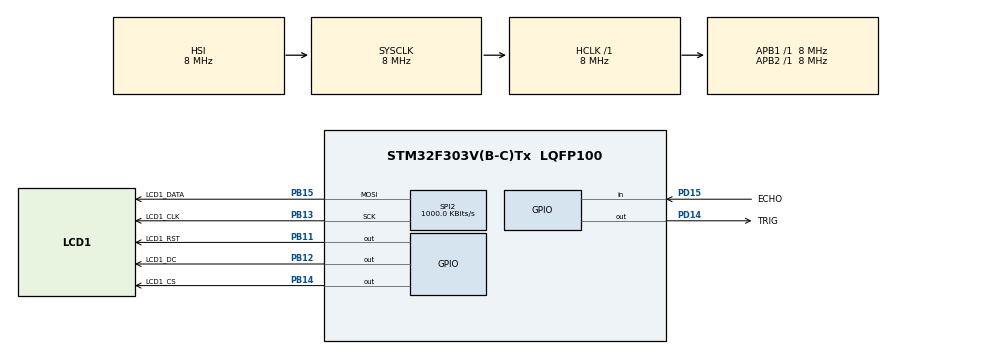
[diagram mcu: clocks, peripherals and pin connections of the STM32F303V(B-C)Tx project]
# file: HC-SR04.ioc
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Mcu.Family=STM32F3
Mcu.Name=STM32F303V(B-C)Tx
Mcu.Package=LQFP100
NVIC.PriorityGroup=NVIC_PRIORITYGROUP_4
PB11.GPIO_Label=LCD1_RST
PB11.Signal=GPIO_Output
PB12.GPIO_Label=LCD1_DC
PB12.Signal=GPIO_Output
PB13.GPIO_Label=LCD1_CLK
PB13.Mode=TX_Only_Simplex_Unidirect_Master
PB13.Signal=SPI2_SCK
PB14.GPIO_Label=LCD1_CS
PB14.Signal=GPIO_Output
PB15.GPIO_Label=LCD1_DATA
PB15.Mode=TX_Only_Simplex_Unidirect_Master
PB15.Signal=SPI2_MOSI
PD14.GPIO_Label=TRIG
PD14.Signal=GPIO_Output
PD15.GPIO_Label=ECHO
PD15.Signal=GPIO_Input
ProjectManager.HeapSize=0x200
ProjectManager.StackSize=0x400
ProjectManager.TargetToolchain=SW4STM32
RCC.AHBFreq_Value=8000000
RCC.APB1Freq_Value=8000000
RCC.APB2Freq_Value=8000000
RCC.CortexFreq_Value=8000000
RCC.HSE_VALUE=8000000
RCC.HSI_VALUE=8000000
RCC.LSE_VALUE=32768
RCC.SYSCLKFreq_VALUE=8000000
SPI2.BaudRatePrescaler=SPI_BAUDRATEPRESCALER_8
SPI2.CalculateBaudRate=1000.0 KBits/s
SPI2.DataSize=SPI_DATASIZE_8BIT
SPI2.Direction=SPI_DIRECTION_2LINES
SPI2.Mode=SPI_MODE_MASTER
SPI2.VirtualType=VM_MASTER
board=custom

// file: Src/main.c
/**
  ******************************************************************************
  * @file           : main.c
  * @brief          : Main program body
  ******************************************************************************
  ** This notice applies to any and all portions of this file
  * that are not between comment pairs USER CODE BEGIN and
  * USER CODE END. Other portions of this file, whether
  * inserted by the user or by software development tools
  * are owned by their respective copyright owners.
  *
  * COPYRIGHT(c) 2019 STMicroelectronics
  *
  * Redistribution and use in source and binary forms, with or without modification,
  * are permitted provided that the following conditions are met:
  *   1. Redistributions of source code must retain the above copyright notice,
  *      this list of conditions and the following disclaimer.
  *   2. Redistributions in binary form must reproduce the above copyright notice,
  *      this list of conditions and the following disclaimer in the documentation
  *      and/or other materials provided with the distribution.
  *   3. Neither the name of STMicroelectronics nor the names of its contributors
  *      may be used to endorse or promote products derived from this software
  *      without specific prior written permission.
  *
  * THIS SOFTWARE IS PROVIDED BY THE COPYRIGHT HOLDERS AND CONTRIBUTORS "AS IS"
  * AND ANY EXPRESS OR IMPLIED WARRANTIES, INCLUDING, BUT NOT LIMITED TO, THE
  * IMPLIED WARRANTIES OF MERCHANTABILITY AND FITNESS FOR A PARTICULAR PURPOSE ARE
  * DISCLAIMED. IN NO EVENT SHALL THE COPYRIGHT HOLDER OR CONTRIBUTORS BE LIABLE
  * FOR ANY DIRECT, INDIRECT, INCIDENTAL, SPECIAL, EXEMPLARY, OR CONSEQUENTIAL
  * DAMAGES (INCLUDING, BUT NOT LIMITED TO, PROCUREMENT OF SUBSTITUTE GOODS OR
  * SERVICES; LOSS OF USE, DATA, OR PROFITS; OR BUSINESS INTERRUPTION) HOWEVER
  * CAUSED AND ON ANY THEORY OF LIABILITY, WHETHER IN CONTRACT, STRICT LIABILITY,
  * OR TORT (INCLUDING NEGLIGENCE OR OTHERWISE) ARISING IN ANY WAY OUT OF THE USE
  * OF THIS SOFTWARE, EVEN IF ADVISED OF THE POSSIBILITY OF SUCH DAMAGE.
  *
  ******************************************************************************
  */
#include "main.h"
#include "stm32f3xx_hal.h"
#include "spi.h"
#include "gpio.h"

/* USER CODE BEGIN Includes */
#include "lcd5110.h"
/* USER CODE END Includes */

/* USER CODE BEGIN PV */
/* Private variables ---------------------------------------------------------*/

/* USER CODE END PV */

void SystemClock_Config(void);

/* USER CODE BEGIN PFP */
/* Private function prototypes -----------------------------------------------*/

/* USER CODE END PFP */

/* USER CODE BEGIN 0 */

static uint32_t get_us()
{
    return 1000*HAL_GetTick();
}

#define LOOP_FREQ (SystemCoreClock/4000000)

static void udelay_asm (uint32_t useconds) {
    useconds *= LOOP_FREQ;

    asm volatile("   mov r0, %[useconds]    \n\t"
                 "1: subs r0, #1            \n\t"
                 "   bhi 1b                 \n\t"
    :
    : [useconds] "r" (useconds)
    : "r0");
}

static void udelay(uint32_t useconds)
{
    udelay_asm(useconds);
}

LCD5110_display lcd1;

/* USER CODE END 0 */

int main(void)
{

  /* MCU Configuration----------------------------------------------------------*/

  /* Reset of all peripherals, Initializes the Flash interface and the Systick. */
  HAL_Init();

  /* Configure the system clock */
  SystemClock_Config();

  /* Initialize all configured peripherals */
  MX_GPIO_Init();
  MX_SPI2_Init();
  /* USER CODE BEGIN 2 */

  lcd1.hw_conf.spi_handle = &hspi2;
  lcd1.hw_conf.spi_cs_pin =  LCD1_CS_Pin;
  lcd1.hw_conf.spi_cs_port = LCD1_CS_GPIO_Port;
  lcd1.hw_conf.rst_pin =  LCD1_RST_Pin;
  lcd1.hw_conf.rst_port = LCD1_RST_GPIO_Port;
  lcd1.hw_conf.dc_pin =  LCD1_DC_Pin;
  lcd1.hw_conf.dc_port = LCD1_DC_GPIO_Port;
  lcd1.def_scr = lcd5110_def_scr;
  LCD5110_init(&lcd1.hw_conf, LCD5110_NORMAL_MODE, 0x40, 2, 3);

  /* USER CODE END 2 */

  /* Infinite loop */
  /* USER CODE BEGIN WHILE */
    HAL_GPIO_WritePin(TRIG_GPIO_Port, TRIG_Pin, GPIO_PIN_RESET);
    while (1)
  {

      int t_state = HAL_GPIO_ReadPin(TRIG_GPIO_Port, TRIG_Pin);
      while(  t_state == GPIO_PIN_SET )
      {
          LCD5110_set_cursor(0, 0, &lcd1);
          LCD5110_clrscr(&lcd1);
          LCD5110_print("Wrong state before triggering, Trig is high\n", BLACK, &lcd1);
          HAL_Delay(300);
      }
      HAL_GPIO_WritePin(TRIG_GPIO_Port, TRIG_Pin, GPIO_PIN_SET);
      if ( HAL_GPIO_ReadPin(TRIG_GPIO_Port, TRIG_Pin) != GPIO_PIN_SET )
      {
          LCD5110_set_cursor(0, 0, &lcd1);
          LCD5110_clrscr(&lcd1);
          LCD5110_print("Line Trig do not went high while triggering.\n", BLACK, &lcd1);
          HAL_GPIO_WritePin(TRIG_GPIO_Port, TRIG_Pin, GPIO_PIN_RESET);
          HAL_Delay(300);
          continue;
      }
      udelay(16);
      HAL_GPIO_WritePin(TRIG_GPIO_Port, TRIG_Pin, GPIO_PIN_RESET);
      if ( HAL_GPIO_ReadPin(TRIG_GPIO_Port, TRIG_Pin) != GPIO_PIN_RESET )
      {
          LCD5110_set_cursor(0, 0, &lcd1);
          LCD5110_clrscr(&lcd1);
          LCD5110_print("Line Trig do not went low after triggering.\n", BLACK, &lcd1);
          HAL_GPIO_WritePin(TRIG_GPIO_Port, TRIG_Pin, GPIO_PIN_RESET);
          HAL_Delay(300);
          continue;
      }
      if ( HAL_GPIO_ReadPin(ECHO_GPIO_Port, ECHO_Pin) == GPIO_PIN_SET )
      {
          LCD5110_set_cursor(0, 0, &lcd1);
          LCD5110_clrscr(&lcd1);
          LCD5110_print("Line ECHO is high too early.\n", BLACK, &lcd1);
          HAL_Delay(300);
          continue;
      }

      uint32_t watchdog_begin = get_us();
      int didnt_had_1_at_echo = 0;
      while(HAL_GPIO_ReadPin(ECHO_GPIO_Port, ECHO_Pin) == GPIO_PIN_RESET )
      {
          if( get_us() - watchdog_begin > 500000 )
          {
              didnt_had_1_at_echo = 1;
              break;
          }
      }
      if(didnt_had_1_at_echo)
      {
          LCD5110_set_cursor(0, 0, &lcd1);
          LCD5110_clrscr(&lcd1);
          LCD5110_print("Line ECHO didn't go high for a long time.\n", BLACK, &lcd1);
          HAL_Delay(300);
          continue;
      }

      uint32_t before = get_us();
      int didnt_had_0_at_echo = 0;
      while(HAL_GPIO_ReadPin(ECHO_GPIO_Port, ECHO_Pin) == GPIO_PIN_SET )
      {
          if( get_us() - watchdog_begin > 500000 )
          {
              didnt_had_0_at_echo = 1;
              break;
          }
      }
      if(didnt_had_0_at_echo)
      {
          LCD5110_set_cursor(0, 0, &lcd1);
          LCD5110_clrscr(&lcd1);
          LCD5110_print("Line ECHO didn't go low after echoing pulse stared for a long time.\n", BLACK, &lcd1);
          HAL_Delay(300);
          continue;
      }

      uint32_t pulse_time = get_us()-before;
      uint32_t distance = pulse_time/58;

      LCD5110_set_cursor(0, 0, &lcd1);
      LCD5110_clrscr(&lcd1);
      char str[100];
      sprintf(str, "Time: %lu us\nDistance: %lu cm\n", pulse_time, distance);
      LCD5110_print(str, BLACK, &lcd1);

      if( distance > 500 )
      {
          LCD5110_set_cursor(0, 0, &lcd1);
          LCD5110_clrscr(&lcd1);
          LCD5110_print("\tToo far -- possibly no echo at all.\n", BLACK, &lcd1);
      }

  /* USER CODE END WHILE */

  }

}

void SystemClock_Config(void)
{

  RCC_OscInitTypeDef RCC_OscInitStruct;
  RCC_ClkInitTypeDef RCC_ClkInitStruct;

    /**Initializes the CPU, AHB and APB busses clocks
    */
  RCC_OscInitStruct.OscillatorType = RCC_OSCILLATORTYPE_HSI;
  RCC_OscInitStruct.HSIState = RCC_HSI_ON;
  RCC_OscInitStruct.HSICalibrationValue = 16;
  RCC_OscInitStruct.PLL.PLLState = RCC_PLL_NONE;
  if (HAL_RCC_OscConfig(&RCC_OscInitStruct) != HAL_OK)
  {
    _Error_Handler(__FILE__, __LINE__);
  }

    /**Initializes the CPU, AHB and APB busses clocks
    */
  RCC_ClkInitStruct.ClockType = RCC_CLOCKTYPE_HCLK|RCC_CLOCKTYPE_SYSCLK
                              |RCC_CLOCKTYPE_PCLK1|RCC_CLOCKTYPE_PCLK2;
  RCC_ClkInitStruct.SYSCLKSource = RCC_SYSCLKSOURCE_HSI;
  RCC_ClkInitStruct.AHBCLKDivider = RCC_SYSCLK_DIV1;
  RCC_ClkInitStruct.APB1CLKDivider = RCC_HCLK_DIV1;
  RCC_ClkInitStruct.APB2CLKDivider = RCC_HCLK_DIV1;

  if (HAL_RCC_ClockConfig(&RCC_ClkInitStruct, FLASH_LATENCY_0) != HAL_OK)
  {
    _Error_Handler(__FILE__, __LINE__);
  }

    /**Configure the Systick interrupt time
    */
  HAL_SYSTICK_Config(HAL_RCC_GetHCLKFreq()/1000);

    /**Configure the Systick
    */
  HAL_SYSTICK_CLKSourceConfig(SYSTICK_CLKSOURCE_HCLK);

  /* SysTick_IRQn interrupt configuration */
  HAL_NVIC_SetPriority(SysTick_IRQn, 0, 0);
}

void _Error_Handler(char *file, int line)
{
  while(1)
  {
  }
}

/************************ (C) COPYRIGHT STMicroelectronics *****END OF FILE****/
